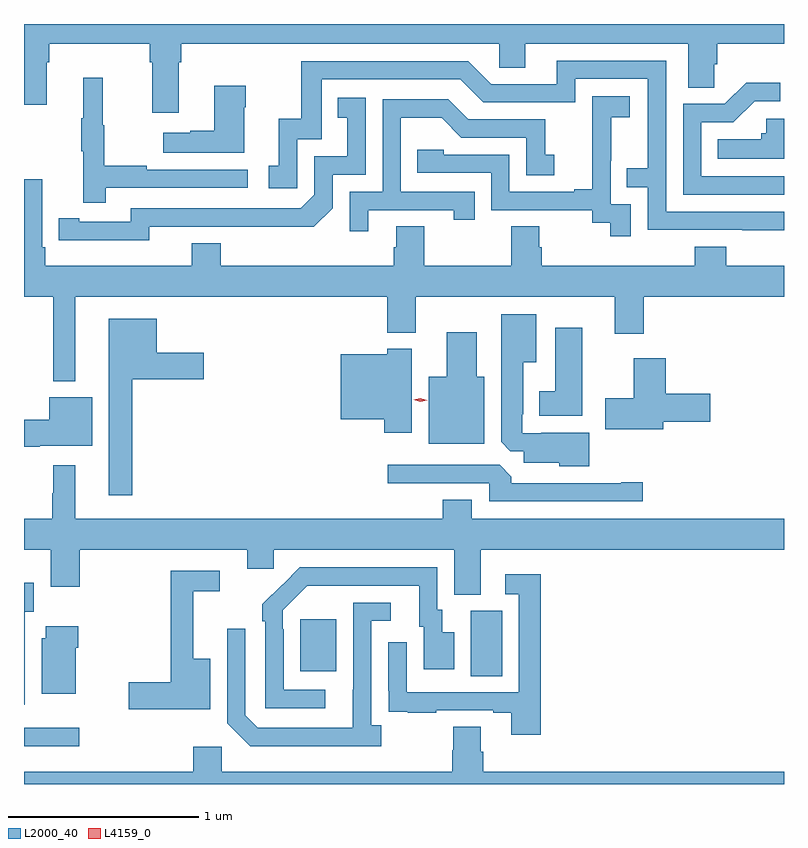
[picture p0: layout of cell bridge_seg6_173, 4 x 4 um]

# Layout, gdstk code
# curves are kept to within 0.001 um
import gdstk
lib = gdstk.Library(unit=1e-6, precision=1e-09)
def R(c, l, rs):  # rectangles x0, y0, x1, y1
    for r in rs: c.add(gdstk.rectangle(r[:2], r[2:], *l))
def P(c, l, *ps):  # polygons
    for p in ps: c.add(gdstk.Polygon(p, *l))
L2000_40 = (2000, 40)
L4159_0 = (4159, 0)

bridge_seg6_173 = lib.new_cell('bridge_seg6_173')
R(bridge_seg6_173, L2000_40, [(158.792,980.936,159.082,981.033), (161.144,981.304,161.308,981.648), (160.247,981.329,160.435,981.604)])
P(bridge_seg6_173, L2000_40, [(159.607,984.536),(159.62,984.536),(159.62,984.632),(161.292,984.632),(161.292,984.505),(161.431,984.505),(161.431,984.632),(162.287,984.632),(162.287,984.4),(162.426,984.4),(162.426,984.523),(162.44,984.523),(162.44,984.632),(162.792,984.632),(162.792,984.736),(158.792,984.736),(158.792,984.312),(158.911,984.312),(158.911,984.536),(158.924,984.536),(158.924,984.632),(159.455,984.632),(159.455,984.536),(159.467,984.536),(159.467,984.27),(159.607,984.27)],
  [(162.792,983.748),(162.171,983.748),(162.171,984.543),(161.597,984.543),(161.597,984.42),(161.25,984.42),(161.13,984.54),(160.251,984.54),(160.251,984.238),(160.133,984.238),(160.133,983.991),(160.08,983.991),(160.08,983.871),(160.23,983.871),(160.23,984.129),(160.359,984.129),(160.359,984.444),(161.088,984.444),(161.208,984.324),(161.694,984.324),(161.694,984.447),(162.075,984.447),(162.075,983.978),(161.965,983.978),(161.965,983.877),(162.075,983.877),(162.075,983.652),(162.792,983.651)],
  [(159.221,983.874),(159.97,983.874),(159.97,983.97),(159.437,983.97),(159.437,983.99),(159.214,983.99),(159.214,984.204),(159.206,984.204),(159.206,984.454),(159.104,984.454),(159.104,984.241),(159.093,984.241),(159.093,984.067),(159.104,984.067),(159.104,983.796),(159.221,983.796)],
  [(162.792,983.934),(162.357,983.934),(162.357,984.219),(162.526,984.219),(162.637,984.33),(162.772,984.33),(162.772,984.428),(162.593,984.428),(162.48,984.315),(162.261,984.315),(162.261,983.838),(162.792,983.838)],
  [(159.952,984.299),(159.96,984.299),(159.96,984.412),(159.794,984.412),(159.794,984.173),(159.668,984.173),(159.668,984.163),(159.525,984.163),(159.525,984.059),(159.952,984.059)],
  [(161.985,983.787),(161.88,983.787),(161.88,984.017),(161.882,984.017),(161.882,984.245),(161.98,984.245),(161.98,984.355),(161.782,984.355),(161.782,984.149),(161.783,984.149),(161.783,983.866),(161.687,983.866),(161.687,983.853),(161.346,983.853),(161.346,984.048),(161.001,984.048),(161.001,984.075),(160.861,984.075),(160.861,983.952),(161.25,983.952),(161.25,983.757),(161.784,983.757),(161.784,983.689),(161.877,983.689),(161.877,983.619),(161.985,983.619)],
  [(159.45,983.67),(160.318,983.669),(160.416,983.766),(160.416,983.943),(160.59,983.943),(160.59,984.349),(160.444,984.349),(160.444,984.243),(160.493,984.243),(160.493,984.039),(160.32,984.039),(160.32,983.838),(160.248,983.766),(159.354,983.766),(159.354,983.694),(159.082,983.694),(159.082,983.714),(158.974,983.714),(158.974,983.598),(159.45,983.597)],
  [(160.603,983.757),(161.054,983.757),(161.054,983.706),(161.165,983.706),(161.165,983.853),(160.776,983.853),(160.776,984.242),(160.99,984.242),(161.094,984.138),(161.436,984.138),(161.436,983.94),(161.584,983.94),(161.584,984.049),(161.535,984.049),(161.535,984.234),(161.131,984.234),(161.026,984.339),(160.68,984.339),(160.68,983.853),(160.506,983.853),(160.506,983.646),(160.603,983.646)],
  [(162.792,984.238),(162.699,984.238),(162.699,984.162),(162.673,984.162),(162.673,984.13),(162.442,984.13),(162.442,984.026),(162.792,984.026)],
  [(162.323,983.563),(162.323,983.464),(161.516,983.464),(161.516,983.562),(161.503,983.562),(161.503,983.672),(161.356,983.672),(161.356,983.464),(160.899,983.464),(160.899,983.672),(160.751,983.672),(160.751,983.562),(160.739,983.562),(160.739,983.464),(159.827,983.464),(159.827,983.581),(159.674,983.581),(159.674,983.464),(158.903,983.464),(158.903,983.56),(158.889,983.56),(158.889,983.92),(158.792,983.92),(158.792,983.3),(158.947,983.3),(158.947,982.856),(159.061,982.856),(159.061,983.3),(160.703,983.3),(160.703,983.111),(160.855,983.111),(160.855,983.3),(161.9,983.3),(161.9,983.106),(162.053,983.106),(162.053,983.3),(162.792,983.3),(162.792,983.464),(162.488,983.464),(162.488,983.563)],
  [(161.767,982.585),(161.515,982.585),(161.515,982.581),(161.415,982.581),(161.415,982.681),(161.419,982.681),(161.419,982.955),(161.488,982.955),(161.488,983.209),(161.303,983.209),(161.303,982.537),(161.352,982.488),(161.423,982.488),(161.423,982.427),(161.61,982.427),(161.61,982.409),(161.767,982.409)],
  [(159.361,982.865),(159.739,982.865),(159.739,983.007),(159.49,983.007),(159.49,983.185),(159.239,983.185),(159.239,982.257),(159.361,982.257)],
  [(161.731,983.137),(161.588,983.137),(161.588,982.804),(161.504,982.804),(161.504,982.673),(161.731,982.673)],
  [(161.215,982.879),(161.176,982.879),(161.176,983.113),(161.018,983.113),(161.018,982.879),(160.922,982.879),(160.922,982.526),(161.215,982.526)],
  [(160.834,983.026),(160.704,983.026),(160.704,982.999),(160.46,982.999),(160.46,982.655),(160.688,982.655),(160.688,982.584),(160.834,982.584)],
  [(162.157,982.643),(162.403,982.643),(162.403,982.79),(162.17,982.79),(162.17,982.978),(162.002,982.978),(162.002,982.767),(161.85,982.767),(161.85,982.604),(162.157,982.604)],
  [(158.875,982.517),(159.151,982.517),(159.151,982.771),(158.924,982.771),(158.924,982.652),(158.792,982.652),(158.792,982.51),(158.875,982.51)],
  [(162.049,982.325),(161.936,982.325),(161.936,982.32),(161.357,982.32),(161.357,982.354),(161.295,982.416),(160.707,982.416),(160.707,982.32),(161.241,982.32),(161.241,982.224),(162.049,982.224)],
  [(159.061,982.414),(158.947,982.414),(158.947,982.265),(158.94,982.265),(158.94,982.132),(158.792,982.132),(158.792,981.968),(158.933,981.968),(158.933,981.774),(159.086,981.774),(159.086,981.968),(159.968,981.968),(159.968,981.87),(160.107,981.87),(160.107,981.968),(161.057,981.968),(161.057,981.733),(161.197,981.733),(161.197,981.968),(162.792,981.968),(162.792,982.132),(161.149,982.132),(161.149,982.231),(160.997,982.231),(160.997,982.132),(159.061,982.132)],
  [(160.378,981.231),(160.158,981.231),(160.158,981.551),(160.155,981.551),(160.155,981.651),(160.284,981.78),(160.871,981.78),(160.871,981.564),(160.895,981.564),(160.895,981.339),(161.056,981.339),(161.056,981.535),(160.993,981.535),(160.993,981.654),(160.968,981.654),(160.968,981.876),(160.244,981.876),(160.047,981.681),(160.047,981.593),(160.062,981.593),(160.062,981.135),(160.378,981.135)],
  [(159.772,981.394),(159.683,981.394),(159.683,981.75),(159.823,981.75),(159.823,981.858),(159.565,981.858),(159.565,981.272),(159.342,981.272),(159.342,981.13),(159.772,981.13)],
  [(161.513,981.841),(161.325,981.841),(161.325,981.735),(161.397,981.735),(161.397,981.219),(160.806,981.219),(160.806,981.481),(160.71,981.481),(160.71,981.226),(160.711,981.226),(160.711,981.117),(160.813,981.117),(160.813,981.111),(160.961,981.111),(160.961,981.123),(161.261,981.123),(161.261,981.111),(161.357,981.111),(161.357,980.994),(161.513,980.994)],
  [(158.797,981.642),(158.842,981.642),(158.842,981.796),(158.792,981.796),(158.792,981.153),(158.797,981.153)],
  [(160.672,981.046),(160.62,981.046),(160.62,981.594),(160.723,981.594),(160.723,981.69),(160.524,981.69),(160.523,981.033),(160.023,981.033),(159.957,981.099),(159.957,981.553),(159.861,981.553),(159.861,981.057),(159.982,980.936),(160.672,980.936)],
  [(159.064,981.452),(159.077,981.452),(159.077,981.565),(158.906,981.565),(158.906,981.504),(158.885,981.504),(158.885,981.212),(159.064,981.212)],
  [(162.792,980.8),(161.21,980.8),(161.21,980.906),(161.197,980.906),(161.197,981.038),(161.05,981.038),(161.05,980.913),(161.045,980.913),(161.045,980.8),(159.834,980.8),(159.834,980.932),(159.683,980.932),(159.683,980.8),(158.792,980.8),(158.792,980.736),(162.792,980.736)])
P(bridge_seg6_173, L4159_0, [(160.878,982.747),(160.842,982.758),(160.841,982.758),(160.842,982.758),(160.878,982.767),(160.914,982.757),(160.914,982.757),(160.914,982.756)])

lib.write_gds('bridge_seg6_173.gds')
